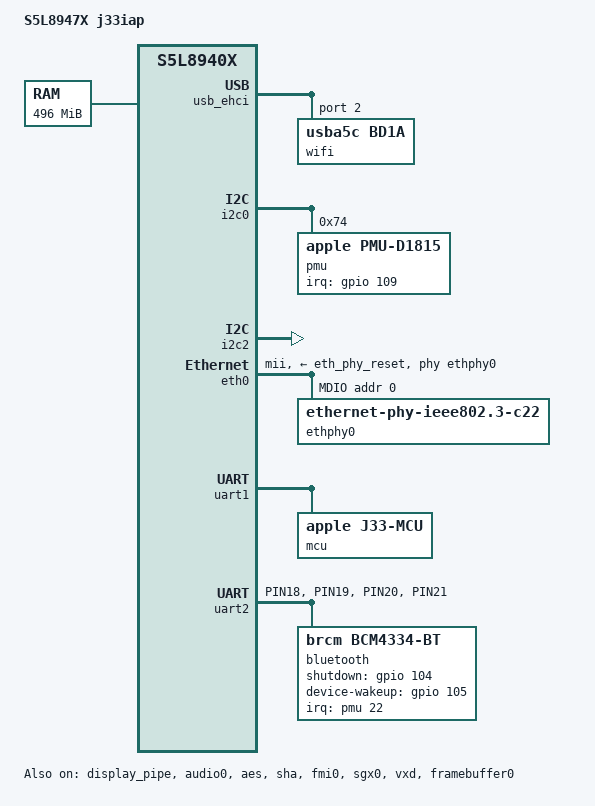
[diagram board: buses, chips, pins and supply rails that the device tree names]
// SPDX-License-Identifier: GPL-2.0-only
/*
 * S5L8947X TV Platform (j33iap) Board Device Tree
 */

/dts-v1/;

#include <dt-bindings/thermal/thermal.h>
#include "s5l8947x.dtsi"

/ {
	model = "S5L8947X j33iap";
	compatible = "apple,j33iap", "apple,s5l8947x", "apple,s5l8940x";

	aliases {
		serial0 = &uart0;
		serial1 = &uart1;
		serial2 = &uart2;
		ethernet0 = &eth0;
	};

	chosen {
		bootargs = "earlycon=s3c6400,0x32500000 keep_bootcon console=tty0 root=/dev/ram0 rw rootwait panic=10 loglevel=8 ignore_loglevel g_cdc.host_addr=02:10:5a:33:00:01 g_cdc.dev_addr=02:10:5a:33:00:02 netconsole=6666@10.55.0.2/eth0,6666@255.255.255.255/ff:ff:ff:ff:ff:ff rdinit=/init";
	};

	memory@80000000 {
		device_type = "memory";
		reg = <0x80000000 0x1f000000>;
	};

	reserved-memory {
		#address-cells = <1>;
		#size-cells = <1>;
		ranges;

		fb_region: framebuffer@9e400000 {
			reg = <0x9e400000 0x800000>;
			no-map;
		};
	};

	/* 1080p30 boot splash scanned out by the boot loader */
	framebuffer0: framebuffer@9e400000 {
		compatible = "simple-framebuffer";
		reg = <0x9e400000 0x7e9000>;
		width = <1920>;
		height = <1080>;
		stride = <7680>;
		format = "a8r8g8b8";
		memory-region = <&fb_region>;
		status = "okay";
	};
};

&gpio {
	status = "okay";

	/* The boot loader leaves RTS (pin 20) as a GPIO held high */
	bt_uart_pins: bt-uart-pins {
		pins = "PIN18", "PIN19", "PIN20", "PIN21";
		apple,peripheral-function = <2>;
	};
};

/*
 * BCM4334 Wi-Fi on EHCI port 2 (HSIC). The host PHY raises REG_ON, then
 * signals host ready (GPIO 113) and waits for device ready (GPIO 128)
 * before the port is scanned.
 */
&usb_phy {
	hsic-supply = <&wlan_reg_on>;
	host-ready-gpios = <&gpio 113 GPIO_ACTIVE_HIGH>;
	device-ready-gpios = <&gpio 128 GPIO_ACTIVE_HIGH>;
};

&usb_ehci {
	status = "okay";
	#address-cells = <1>;
	#size-cells = <0>;

	/*
	 * The firmware does not start without a MAC address in its NVRAM.
	 * Its built-in regulatory table takes ISO 3166 codes as they are, so
	 * a country set through cfg80211 reaches it unmapped.
	 */
	wifi@2 {
		compatible = "usba5c,bd1a";
		reg = <2>;
		local-mac-address = [02 10 5a 33 00 44];
		brcm,ccode-map-trivial;
	};
};

&i2c0 {
	status = "okay";

	pmu: pmu@74 {
		compatible = "apple,pmu-d1815", "apple,d1815-pmu", "apple,pmu-i2c";
		reg = <0x74>;
		/* Event interrupt: active low on SoC GPIO 109 */
		interrupt-parent = <&gpio>;
		interrupts = <109 IRQ_TYPE_LEVEL_LOW>;
		interrupt-controller;
		#interrupt-cells = <2>;
		#address-cells = <1>;
		#size-cells = <0>;

		/* D1815 GPIO 8 (reg 0x58, bit 1): SMSC LAN8742 Ethernet PHY nRST */
		eth_phy_reset: eth_phy_reset@58 {
			compatible = "apple,pmu-pwrsw", "apple,pmu-power-switch";
			reg = <0x58>;
			mask = <0x02>;
			enable = <0x02>;
		};

		/* D1815 GPIO 7 (reg 0x57, bit 1): BCM4334 Wi-Fi REG_ON */
		wlan_reg_on: wlan_reg_on@57 {
			compatible = "apple,pmu-pwrsw", "apple,pmu-power-switch";
			reg = <0x57>;
			mask = <0x02>;
			enable = <0x02>;
		};

		/* Seconds counter at 0x4c, alarm event 32 */
		rtc {
			compatible = "apple,pmu-d1815-rtc";
			interrupts-extended = <&pmu 32 IRQ_TYPE_EDGE_RISING>;
		};

		/* ADC: thermistors on channels 11..14 and the junction; done = event 13 */
		pmu_adc: adc {
			compatible = "apple,pmu-d1815-adc";
			interrupts-extended = <&pmu 13 IRQ_TYPE_EDGE_RISING>;
			#thermal-sensor-cells = <1>;
			apple,thermistor-labels = "SoC", "Wi-Fi", "Power supply", "NAND";
		};
	};
};

&i2c2 {
	status = "okay";
};

&eth0 {
	status = "okay";
	local-mac-address = [02 10 5a 33 00 ee];
	phy-mode = "mii";
	phy-handle = <&ethphy0>;
	phy-supply = <&eth_phy_reset>;

	mdio {
		#address-cells = <1>;
		#size-cells = <0>;

		ethphy0: ethernet-phy@0 {
			compatible = "ethernet-phy-ieee802.3-c22";
			reg = <0>;
		};
	};
};

&uart1 {
	status = "okay";

	/* TI MSP430 system / IR remote MCU */
	mcu {
		compatible = "apple,j33-mcu";
		current-speed = <250000>;
	};
};

&uart2 {
	status = "okay";

	pinctrl-names = "default";
	pinctrl-0 = <&bt_uart_pins>;

	bluetooth {
		compatible = "brcm,bcm4334-bt";
		shutdown-gpios = <&gpio 104 GPIO_ACTIVE_HIGH>;
		device-wakeup-gpios = <&gpio 105 GPIO_ACTIVE_HIGH>;
		/* Host wake: D1815 GPIO 6 (reg 0x56, input), PMU event 22 */
		interrupts-extended = <&pmu 22 IRQ_TYPE_EDGE_RISING>;
		interrupt-names = "host-wakeup";
		/*
		 * The UART clocks are about 51.3 MHz and 24 MHz with integer
		 * divisors only, so the stock 3 Mbaud is out of reach; 51.3 MHz / 32
		 * is matched by the controller within about 0.2%.
		 */
		max-speed = <1603125>;
	};
};

/* Display pipe (rgbout + out + HDMI + M2M scaler) */
&display_pipe {
	status = "okay";
};

/* Audio (I2S0 to HDMI, S/PDIF to optical) */
&audio0 {
	status = "okay";
};

/* AES engine (memory to memory through CDMA channels 1 and 2) */
&aes {
	status = "okay";
};

&sha {
	status = "okay";
};

/* NAND: one managed NAND package on FMI0, CE0; FMI1 is unpopulated */
&fmi0 {
	status = "okay";
};

/* PowerVR SGX543 GPU; the microkernel is provisioned from the System volume */
&sgx0 {
	status = "okay";
};

/* VXD decoder: power, firmware upload and handshake (no decode interface yet) */
&vxd {
	status = "okay";
};

/ {
	thermal-zones {
		/* Board thermistor next to the SoC (temp1) */
		soc-thermal {
			polling-delay-passive = <1000>;
			polling-delay = <5000>;
			thermal-sensors = <&pmu_adc 0>;

			trips {
				soc_passive: soc-passive {
					temperature = <70000>;
					hysteresis = <5000>;
					type = "passive";
				};

				soc-critical {
					temperature = <95000>;
					hysteresis = <2000>;
					type = "critical";
				};
			};

			cooling-maps {
				map0 {
					trip = <&soc_passive>;
					cooling-device = <&cpu0 THERMAL_NO_LIMIT THERMAL_NO_LIMIT>;
				};
			};
		};
	};
};
